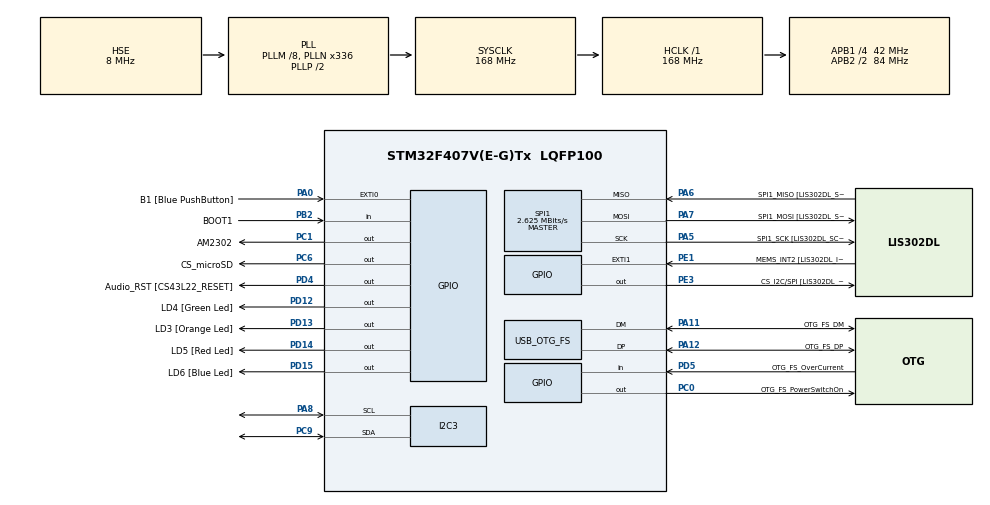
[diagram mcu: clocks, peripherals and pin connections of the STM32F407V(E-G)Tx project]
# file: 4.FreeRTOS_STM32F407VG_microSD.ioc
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FATFS._CODE_PAGE=850
FATFS._MAX_SS=4096
FATFS._USE_LFN=2
FREERTOS.Queues01=UARTQueue,10,QUEUE_t,0,Static,UARTQueueBuffer,UARTQueueControlBlock
FREERTOS.Tasks01=defaultTask,24,128,StartDefaultTask,Default,NULL,Static,defaultTaskBuffer,defaultTaskControlBlock;Blue_LED_Blink,8,1024,Start_Blue_LED_Blink,Default,NULL,Static,Blue_LED_BlinkBuffer,Blue_LED_BlinkControlBlock;Show_Resources,8,1024,Start_Show_Resources,Default,NULL,Static,Show_ResourcesBuffer,Show_ResourcesControlBlock;UART_Task,8,1024,Start_UART_Task,Default,NULL,Static,UART_TaskBuffer,UART_TaskControlBlock;bme280,8,1024,Start_bme280,Default,NULL,Static,bme280Buffer,bme280ControlBlock;AM2302,8,1024,Start_AM2302,Default,NULL,Static,AM2302Buffer,AM2302ControlBlock;SD_CARD,40,1024,Start_SD_CARD,Default,NULL,Static,SD_CARDBuffer,SD_CARDControlBlock
FREERTOS.configGENERATE_RUN_TIME_STATS=1
FREERTOS.configTOTAL_HEAP_SIZE=18000
FREERTOS.configUSE_NEWLIB_REENTRANT=1
FREERTOS.configUSE_STATS_FORMATTING_FUNCTIONS=1
Mcu.Family=STM32F4
Mcu.Name=STM32F407V(E-G)Tx
Mcu.Package=LQFP100
NVIC.OTG_FS_IRQn=true\:5\:0\:false\:false\:true\:true\:true\:true
NVIC.PriorityGroup=NVIC_PRIORITYGROUP_4
NVIC.TIM1_UP_TIM10_IRQn=true\:5\:0\:false\:false\:true\:false\:false\:true
NVIC.TIM2_IRQn=true\:5\:0\:false\:false\:true\:true\:true\:true
NVIC.TIM3_IRQn=true\:5\:0\:false\:false\:true\:true\:true\:true
NVIC.TIM8_TRG_COM_TIM14_IRQn=true\:15\:0\:false\:false\:true\:false\:false\:true
NVIC.TimeBase=TIM8_TRG_COM_TIM14_IRQn
NVIC.TimeBaseIP=TIM14
PA0-WKUP.GPIO_Label=B1 [Blue PushButton]
PA0-WKUP.GPIO_ModeDefaultEXTI=GPIO_MODE_EVT_RISING
PA0-WKUP.GPIO_PuPd=GPIO_NOPULL
PA0-WKUP.Signal=GPXTI0
PA10.GPIO_Label=OTG_FS_ID
PA10.GPIO_Mode=GPIO_MODE_AF_PP
PA10.GPIO_PuPd=GPIO_NOPULL
PA10.GPIO_Speed=GPIO_SPEED_FREQ_LOW
PA10.Signal=USB_OTG_FS_ID
PA11.GPIO_Label=OTG_FS_DM
PA11.GPIO_Mode=GPIO_MODE_AF_PP
PA11.GPIO_PuPd=GPIO_NOPULL
PA11.GPIO_Speed=GPIO_SPEED_FREQ_LOW
PA11.Mode=Device_Only
PA11.Signal=USB_OTG_FS_DM
PA12.GPIO_Label=OTG_FS_DP
PA12.GPIO_Mode=GPIO_MODE_AF_PP
PA12.GPIO_PuPd=GPIO_NOPULL
PA12.GPIO_Speed=GPIO_SPEED_FREQ_LOW
PA12.Mode=Device_Only
PA12.Signal=USB_OTG_FS_DP
PA13.GPIO_Label=SWDIO
PA13.Mode=Serial_Wire
PA13.Signal=SYS_JTMS-SWDIO
PA14.GPIO_Label=SWCLK
PA14.Mode=Serial_Wire
PA14.Signal=SYS_JTCK-SWCLK
PA4.GPIO_Label=I2S3_WS [CS43L22_LRCK]
PA4.GPIO_Mode=GPIO_MODE_AF_PP
PA4.GPIO_PuPd=GPIO_NOPULL
PA4.GPIO_Speed=GPIO_SPEED_FREQ_LOW
PA4.Signal=I2S3_WS
PA5.GPIO_Label=SPI1_SCK [LIS302DL_SCL/SPC]
PA5.GPIO_Mode=GPIO_MODE_AF_PP
PA5.GPIO_PuPd=GPIO_NOPULL
PA5.GPIO_Speed=GPIO_SPEED_FREQ_HIGH
PA5.Mode=Full_Duplex_Master
PA5.Signal=SPI1_SCK
PA6.GPIO_Label=SPI1_MISO [LIS302DL_SDO]
PA6.GPIO_Mode=GPIO_MODE_AF_PP
PA6.GPIO_PuPd=GPIO_NOPULL
PA6.GPIO_Speed=GPIO_SPEED_FREQ_HIGH
PA6.Mode=Full_Duplex_Master
PA6.Signal=SPI1_MISO
PA7.GPIO_Label=SPI1_MOSI [LIS302DL_SDA/SDI/SDO]
PA7.GPIO_Mode=GPIO_MODE_AF_PP
PA7.GPIO_PuPd=GPIO_NOPULL
PA7.GPIO_Speed=GPIO_SPEED_FREQ_HIGH
PA7.Mode=Full_Duplex_Master
PA7.Signal=SPI1_MOSI
PA8.Mode=I2C
PA8.Signal=I2C3_SCL
PA9.GPIO_Label=VBUS_FS
PA9.GPIO_Mode=GPIO_MODE_INPUT
PA9.GPIO_PuPd=GPIO_NOPULL
PA9.Signal=USB_OTG_FS_VBUS
PB10.GPIO_Label=CLK_IN [MP45DT02_CLK]
PB10.GPIO_Mode=GPIO_MODE_AF_PP
PB10.GPIO_PuPd=GPIO_NOPULL
PB10.GPIO_Speed=GPIO_SPEED_FREQ_LOW
PB10.Signal=I2S2_CK
PB2.GPIO_Label=BOOT1
PB2.GPIO_Mode=GPIO_MODE_INPUT
PB2.GPIO_PuPd=GPIO_NOPULL
PB2.Signal=GPIO_Input
PB3.GPIO_Label=SWO
PB3.Signal=SYS_JTDO-SWO
PB6.GPIO_Label=Audio_SCL [CS43L22_SCL]
PB6.GPIO_Mode=GPIO_MODE_AF_OD
PB6.GPIO_Pu=GPIO_PULLUP
PB6.GPIO_PuPd=GPIO_NOPULL
PB6.GPIO_Speed=GPIO_SPEED_FREQ_LOW
PB6.Signal=I2C1_SCL
PB9.GPIO_Label=Audio_SDA [CS43L22_SDA]
PB9.GPIO_Mode=GPIO_MODE_AF_OD
PB9.GPIO_Pu=GPIO_PULLUP
PB9.GPIO_PuPd=GPIO_NOPULL
PB9.GPIO_Speed=GPIO_SPEED_FREQ_LOW
PB9.Signal=I2C1_SDA
PC0.GPIO_Label=OTG_FS_PowerSwitchOn
PC0.GPIO_PuPd=GPIO_NOPULL
PC0.GPIO_Speed=GPIO_SPEED_FREQ_LOW
PC0.PinState=GPIO_PIN_SET
PC0.Signal=GPIO_Output
PC1.GPIO_Label=AM2302
PC1.Signal=GPIO_Output
PC10.GPIO_Label=I2S3_SCK [CS43L22_SCLK]
PC10.GPIO_Mode=GPIO_MODE_AF_PP
PC10.GPIO_PuPd=GPIO_NOPULL
PC10.GPIO_Speed=GPIO_SPEED_FREQ_LOW
PC10.Signal=I2S3_CK
PC12.GPIO_Label=I2S3_SD [CS43L22_SDIN]
PC12.GPIO_Mode=GPIO_MODE_AF_PP
PC12.GPIO_PuPd=GPIO_NOPULL
PC12.GPIO_Speed=GPIO_SPEED_FREQ_LOW
PC12.Signal=I2S3_SD
PC14-OSC32_IN.GPIO_Label=PC14-OSC32_IN
PC14-OSC32_IN.Mode=LSE-External-Oscillator
PC14-OSC32_IN.Signal=RCC_OSC32_IN
PC15-OSC32_OUT.GPIO_Label=PC15-OSC32_OUT
PC15-OSC32_OUT.Mode=LSE-External-Oscillator
PC15-OSC32_OUT.Signal=RCC_OSC32_OUT
PC3.GPIO_Label=PDM_OUT [MP45DT02_DOUT]
PC3.GPIO_Mode=GPIO_MODE_AF_PP
PC3.GPIO_PuPd=GPIO_NOPULL
PC3.GPIO_Speed=GPIO_SPEED_FREQ_LOW
PC3.Signal=I2S2_SD
PC6.GPIO_Label=CS_microSD
PC6.GPIO_Speed=GPIO_SPEED_FREQ_HIGH
PC6.Signal=GPIO_Output
PC7.GPIO_Label=I2S3_MCK [CS43L22_MCLK]
PC7.GPIO_Mode=GPIO_MODE_AF_PP
PC7.GPIO_PuPd=GPIO_NOPULL
PC7.GPIO_Speed=GPIO_SPEED_FREQ_LOW
PC7.Signal=I2S3_MCK
PC9.Mode=I2C
PC9.Signal=I2C3_SDA
PD12.GPIO_Label=LD4 [Green Led]
PD12.GPIO_PuPd=GPIO_NOPULL
PD12.GPIO_Speed=GPIO_SPEED_FREQ_LOW
PD12.Signal=GPIO_Output
PD13.GPIO_Label=LD3 [Orange Led]
PD13.GPIO_PuPd=GPIO_NOPULL
PD13.GPIO_Speed=GPIO_SPEED_FREQ_LOW
PD13.Signal=GPIO_Output
PD14.GPIO_Label=LD5 [Red Led]
PD14.GPIO_PuPd=GPIO_NOPULL
PD14.GPIO_Speed=GPIO_SPEED_FREQ_LOW
PD14.Signal=GPIO_Output
PD15.GPIO_Label=LD6 [Blue Led]
PD15.GPIO_PuPd=GPIO_NOPULL
PD15.GPIO_Speed=GPIO_SPEED_FREQ_LOW
PD15.Signal=GPIO_Output
PD4.GPIO_Label=Audio_RST [CS43L22_RESET]
PD4.GPIO_PuPd=GPIO_NOPULL
PD4.GPIO_Speed=GPIO_SPEED_FREQ_LOW
PD4.Signal=GPIO_Output
PD5.GPIO_Label=OTG_FS_OverCurrent
PD5.GPIO_Mode=GPIO_MODE_INPUT
PD5.GPIO_PuPd=GPIO_NOPULL
PD5.Signal=GPIO_Input
PE1.GPIO_Label=MEMS_INT2 [LIS302DL_INT2]
PE1.GPIO_ModeDefaultEXTI=GPIO_MODE_EVT_RISING
PE1.GPIO_PuPd=GPIO_NOPULL
PE1.Signal=GPXTI1
PE3.GPIO_Label=CS_I2C/SPI [LIS302DL_CS_I2C/SPI]
PE3.GPIO_PuPd=GPIO_NOPULL
PE3.GPIO_Speed=GPIO_SPEED_FREQ_LOW
PE3.Signal=GPIO_Output
PH0-OSC_IN.GPIO_Label=PH0-OSC_IN
PH0-OSC_IN.Mode=HSE-External-Oscillator
PH0-OSC_IN.Signal=RCC_OSC_IN
PH1-OSC_OUT.GPIO_Label=PH1-OSC_OUT
PH1-OSC_OUT.Mode=HSE-External-Oscillator
PH1-OSC_OUT.Signal=RCC_OSC_OUT
ProjectManager.HeapSize=0x200
ProjectManager.StackSize=0x400
ProjectManager.TargetToolchain=STM32CubeIDE
RCC.48MHZClocksFreq_Value=48000000
RCC.AHBFreq_Value=168000000
RCC.APB1CLKDivider=RCC_HCLK_DIV4
RCC.APB1Freq_Value=42000000
RCC.APB1TimFreq_Value=84000000
RCC.APB2CLKDivider=RCC_HCLK_DIV2
RCC.APB2Freq_Value=84000000
RCC.APB2TimFreq_Value=168000000
RCC.CortexFreq_Value=168000000
RCC.HCLKFreq_Value=168000000
RCC.HSE_VALUE=8000000
RCC.HSI_VALUE=16000000
RCC.PLLM=8
RCC.PLLN=336
RCC.PLLQ=7
RCC.RCC_RTC_Clock_Source=RCC_RTCCLKSOURCE_LSE
RCC.SYSCLKFreq_VALUE=168000000
RCC.SYSCLKSource=RCC_SYSCLKSOURCE_PLLCLK
RCC.VCOOutputFreq_Value=336000000
RTC.Alarm=RTC_ALARM_A
RTC.AlarmDateWeekDaySel=RTC_ALARMDATEWEEKDAYSEL_WEEKDAY
RTC.Date=28
RTC.Hours=23
RTC.Minutes=59
RTC.Month=RTC_MONTH_DECEMBER
RTC.Seconds=45
RTC.Seconds_A=10
RTC.StoreOperation=RTC_STOREOPERATION_RESET
RTC.WeekDay=RTC_WEEKDAY_TUESDAY
SPI1.BaudRatePrescaler=SPI_BAUDRATEPRESCALER_32
SPI1.CalculateBaudRate=2.625 MBits/s
SPI1.Direction=SPI_DIRECTION_2LINES
SPI1.Mode=SPI_MODE_MASTER
SPI1.VirtualType=VM_MASTER
TIM1.Period=10000
TIM1.Prescaler=16800-1
TIM1.TIM_MasterOutputTrigger=TIM_TRGO_UPDATE
TIM10.AutoReloadPreload=TIM_AUTORELOAD_PRELOAD_ENABLE
TIM10.Period=10-1
TIM10.Prescaler=168-1
TIM2.AutoReloadPreload=TIM_AUTORELOAD_PRELOAD_DISABLE
TIM2.Period=10
TIM2.Prescaler=10
TIM3.AutoReloadPreload=TIM_AUTORELOAD_PRELOAD_ENABLE
TIM3.Period=10
TIM3.Prescaler=839
USB_DEVICE.CLASS_NAME_FS=CDC
USB_DEVICE.VirtualMode-CDC_FS=Cdc
USB_DEVICE.VirtualModeFS=Cdc_FS
USB_OTG_FS.VirtualMode=Device_Only
VP_FATFS_VS_Generic.Mode=User_defined
VP_FREERTOS_VS_CMSIS_V2.Mode=CMSIS_V2
VP_RTC_VS_RTC_Activate.Mode=RTC_Enabled
VP_RTC_VS_RTC_Alarm_A_Intern.Mode=Alarm A
VP_RTC_VS_RTC_Calendar.Mode=RTC_Calendar
VP_SYS_VS_tim14.Mode=TIM14
VP_TIM10_VS_ClockSourceINT.Mode=Enable_Timer
VP_TIM1_VS_ClockSourceINT.Mode=Internal
VP_TIM2_VS_ClockSourceINT.Mode=Internal
VP_TIM3_VS_ClockSourceINT.Mode=Internal
VP_USB_DEVICE_VS_USB_DEVICE_CDC_FS.Mode=CDC_FS
board=STM32F407G-DISC1

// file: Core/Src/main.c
/* USER CODE BEGIN Header */
/**
  ******************************************************************************
  * @file           : main.c
  * @brief          : Main program body
  ******************************************************************************
  * @attention
  *
  * <h2><center>&copy; Copyright (c) 2021 STMicroelectronics.
  * All rights reserved.</center></h2>
  *
  * This software component is licensed by ST under Ultimate Liberty license
  * SLA0044, the "License"; You may not use this file except in compliance with
  * the License. You may obtain a copy of the License at:
  *                             www.st.com/SLA0044
  *
  ******************************************************************************
  */
/* USER CODE END Header */
#include "main.h"
#include "cmsis_os.h"
#include "fatfs.h"
#include "usb_device.h"
#include "usb_device.h"

/* USER CODE BEGIN Includes */
#include "string.h"
#include "usbd_cdc_if.h"
#include "task.h"
#include <stdio.h>
#include <stdbool.h>

// Sensors
#include "BME280/bme280_defs.h"
#include "BME280/bme280.h"

// SD
#include "File_Handling_RTOS.h"
/* USER CODE END Includes */

typedef StaticTask_t osStaticThreadDef_t;
typedef StaticQueue_t osStaticMessageQDef_t;
/* USER CODE BEGIN PTD */
typedef struct 							//Queue
{
	char Buf[1024];
}QUEUE_t;

volatile unsigned long ulHighFreqebcyTimerTicks;		// This variable using for calculate how many time all tasks was running.
char str_management_memory_str[1000] = {0};
int freemem = 0;

uint32_t tim_val = 0;

// For SD works (use in fatfs_sd.c file)
volatile uint8_t FatFsCnt = 0;
volatile uint8_t Timer1, Timer2;

/* USER CODE END PTD */

I2C_HandleTypeDef hi2c3;

RTC_HandleTypeDef hrtc;

SPI_HandleTypeDef hspi1;

TIM_HandleTypeDef htim1;
TIM_HandleTypeDef htim2;
TIM_HandleTypeDef htim3;
TIM_HandleTypeDef htim10;

/* Definitions for defaultTask */
osThreadId_t defaultTaskHandle;
uint32_t defaultTaskBuffer[ 128 ];
osStaticThreadDef_t defaultTaskControlBlock;
const osThreadAttr_t defaultTask_attributes = {
  .name = "defaultTask",
  .cb_mem = &defaultTaskControlBlock,
  .cb_size = sizeof(defaultTaskControlBlock),
  .stack_mem = &defaultTaskBuffer[0],
  .stack_size = sizeof(defaultTaskBuffer),
  .priority = (osPriority_t) osPriorityNormal,
};
/* Definitions for Blue_LED_Blink */
osThreadId_t Blue_LED_BlinkHandle;
uint32_t Blue_LED_BlinkBuffer[ 1024 ];
osStaticThreadDef_t Blue_LED_BlinkControlBlock;
const osThreadAttr_t Blue_LED_Blink_attributes = {
  .name = "Blue_LED_Blink",
  .cb_mem = &Blue_LED_BlinkControlBlock,
  .cb_size = sizeof(Blue_LED_BlinkControlBlock),
  .stack_mem = &Blue_LED_BlinkBuffer[0],
  .stack_size = sizeof(Blue_LED_BlinkBuffer),
  .priority = (osPriority_t) osPriorityLow,
};
/* Definitions for Show_Resources */
osThreadId_t Show_ResourcesHandle;
uint32_t Show_ResourcesBuffer[ 1024 ];
osStaticThreadDef_t Show_ResourcesControlBlock;
const osThreadAttr_t Show_Resources_attributes = {
  .name = "Show_Resources",
  .cb_mem = &Show_ResourcesControlBlock,
  .cb_size = sizeof(Show_ResourcesControlBlock),
  .stack_mem = &Show_ResourcesBuffer[0],
  .stack_size = sizeof(Show_ResourcesBuffer),
  .priority = (osPriority_t) osPriorityLow,
};
/* Definitions for UART_Task */
osThreadId_t UART_TaskHandle;
uint32_t UART_TaskBuffer[ 1024 ];
osStaticThreadDef_t UART_TaskControlBlock;
const osThreadAttr_t UART_Task_attributes = {
  .name = "UART_Task",
  .cb_mem = &UART_TaskControlBlock,
  .cb_size = sizeof(UART_TaskControlBlock),
  .stack_mem = &UART_TaskBuffer[0],
  .stack_size = sizeof(UART_TaskBuffer),
  .priority = (osPriority_t) osPriorityLow,
};
/* Definitions for bme280 */
osThreadId_t bme280Handle;
uint32_t bme280Buffer[ 1024 ];
osStaticThreadDef_t bme280ControlBlock;
const osThreadAttr_t bme280_attributes = {
  .name = "bme280",
  .cb_mem = &bme280ControlBlock,
  .cb_size = sizeof(bme280ControlBlock),
  .stack_mem = &bme280Buffer[0],
  .stack_size = sizeof(bme280Buffer),
  .priority = (osPriority_t) osPriorityLow,
};
/* Definitions for AM2302 */
osThreadId_t AM2302Handle;
uint32_t AM2302Buffer[ 1024 ];
osStaticThreadDef_t AM2302ControlBlock;
const osThreadAttr_t AM2302_attributes = {
  .name = "AM2302",
  .cb_mem = &AM2302ControlBlock,
  .cb_size = sizeof(AM2302ControlBlock),
  .stack_mem = &AM2302Buffer[0],
  .stack_size = sizeof(AM2302Buffer),
  .priority = (osPriority_t) osPriorityLow,
};
/* Definitions for SD_CARD */
osThreadId_t SD_CARDHandle;
uint32_t SD_CARDBuffer[ 1024 ];
osStaticThreadDef_t SD_CARDControlBlock;
const osThreadAttr_t SD_CARD_attributes = {
  .name = "SD_CARD",
  .cb_mem = &SD_CARDControlBlock,
  .cb_size = sizeof(SD_CARDControlBlock),
  .stack_mem = &SD_CARDBuffer[0],
  .stack_size = sizeof(SD_CARDBuffer),
  .priority = (osPriority_t) osPriorityHigh,
};
/* Definitions for UARTQueue */
osMessageQueueId_t UARTQueueHandle;
uint8_t UARTQueueBuffer[ 10 * sizeof( QUEUE_t ) ];
osStaticMessageQDef_t UARTQueueControlBlock;
const osMessageQueueAttr_t UARTQueue_attributes = {
  .name = "UARTQueue",
  .cb_mem = &UARTQueueControlBlock,
  .cb_size = sizeof(UARTQueueControlBlock),
  .mq_mem = &UARTQueueBuffer,
  .mq_size = sizeof(UARTQueueBuffer)
};
/* USER CODE BEGIN PV */

// BME280 part /////////////////////////////////////////////////////////////////////////////////////
struct bme280_dev dev;
struct bme280_data comp_data;
int8_t rslt;

int8_t init_bme280(void);
void bme280_measure(void);

//----------------------------------------------------------------------------------------
int8_t user_i2c_read(uint8_t id, uint8_t reg_addr, uint8_t *data, uint16_t len)
{
  if(HAL_I2C_Master_Transmit(&hi2c3, (id << 1), &reg_addr, 1, 10) != HAL_OK) return -1;
  if(HAL_I2C_Master_Receive(&hi2c3, (id << 1) | 0x01, data, len, 10) != HAL_OK) return -1;

  return 0;
}
//----------------------------------------------------------------------------------------
void user_delay_ms(uint32_t period)
{
  HAL_Delay(period);
}
//----------------------------------------------------------------------------------------
int8_t user_i2c_write(uint8_t id, uint8_t reg_addr, uint8_t *data, uint16_t len)
{
  int8_t *buf;
  buf = malloc(len +1);
  buf[0] = reg_addr;
  memcpy(buf +1, data, len);

  if(HAL_I2C_Master_Transmit(&hi2c3, (id << 1), (uint8_t*)buf, len + 1, HAL_MAX_DELAY) != HAL_OK) return -1;

  free(buf);
  return 0;
}
// End BME280 part/////////////////////////////////////////////////////////////////////////////////////

//__STATIC_INLINE void DelayMicro(__IO uint32_t micros)
//{
//	uint32_t test_micros = SystemCoreClock;
//	micros *= (SystemCoreClock / 100000) /168;			// 84
//	while (micros--);
//	//HAL_GPIO_TogglePin(GPIOD, LD3_Pin);
//
//}

bool delay_us(uint16_t us)
{
	__HAL_TIM_SET_COUNTER(&htim10, 0);
	tim_val = us/10;
	HAL_TIM_Base_Start_IT(&htim10);
	while(tim_val != 0)
	{

	}
	HAL_TIM_Base_Stop_IT(&htim10);
	tim_val = 0;
	int s = 99;
	return true;

//	__HAL_TIM_SET_COUNTER(&htim10, 0);
//	HAL_TIM_Base_Start_IT(&htim10);
//	uint32_t kk = __HAL_TIM_GET_COUNTER(&htim10);
//	while (__HAL_TIM_GET_COUNTER(&htim10) < us)  // wait for the counter to reach the us input in the parameter
//	{
//
//	}
//	//HAL_TIM_Base_Stop_IT(&htim10);
//	return true;
}

/* USER CODE END PV */

void SystemClock_Config(void);
static void MX_GPIO_Init(void);
static void MX_TIM3_Init(void);
static void MX_I2C3_Init(void);
static void MX_TIM2_Init(void);
static void MX_TIM10_Init(void);
static void MX_SPI1_Init(void);
static void MX_TIM1_Init(void);
static void MX_RTC_Init(void);
void StartDefaultTask(void *argument);
void Start_Blue_LED_Blink(void *argument);
void Start_Show_Resources(void *argument);
void Start_UART_Task(void *argument);
void Start_bme280(void *argument);
void Start_AM2302(void *argument);
void Start_SD_CARD(void *argument);

int main(void)
{

  /* MCU Configuration--------------------------------------------------------*/

  /* Reset of all peripherals, Initializes the Flash interface and the Systick. */
  HAL_Init();

  /* Configure the system clock */
  SystemClock_Config();

  /* Initialize all configured peripherals */
  MX_GPIO_Init();
  MX_TIM3_Init();
  MX_I2C3_Init();
  MX_TIM2_Init();
  MX_TIM10_Init();
  MX_SPI1_Init();
  MX_FATFS_Init();
  MX_TIM1_Init();
  MX_RTC_Init();
  /* USER CODE BEGIN 2 */
  HAL_TIM_Base_Start_IT(&htim3);		//  This TIM3 using for calculate how many time all tasks was running.

  //HAL_TIM_Base_Start_IT(&htim2);
  //HAL_TIM_Base_Start_IT(&htim10);			// Using for generate us delays
  HAL_TIM_Base_Start_IT(&htim1);			// Blink Green LED

//  // Set up RTC /////////////////////////////////////////////////////
//  // 1. Set time
//  RTC_TimeTypeDef sTime = {0};
//  sTime.Hours = 0x23;
//  sTime.Minutes = 0x59;
//  sTime.Seconds = 0x45;
//  HAL_RTC_SetTime(&hrtc, &sTime, RTC_FORMAT_BIN);
//  // Set date
//
//  RTC_DateTypeDef sDate = {0};
//  sDate.Date = 28;
//  sDate.Month = RTC_MONTH_DECEMBER;
//  sDate.WeekDay = RTC_WEEKDAY_TUESDAY;
//  sDate.Year = 21;
//  HAL_RTC_SetDate(&hrtc, &sDate, RTC_FORMAT_BIN);
//  /////////////////////////////////////////////////////////////////////

  /* USER CODE END 2 */

  /* Init scheduler */
  osKernelInitialize();

  /* Create the queue(s) */
  /* creation of UARTQueue */
  UARTQueueHandle = osMessageQueueNew (10, sizeof(QUEUE_t), &UARTQueue_attributes);

  /* Create the thread(s) */
  /* creation of defaultTask */
  defaultTaskHandle = osThreadNew(StartDefaultTask, NULL, &defaultTask_attributes);

  /* creation of Blue_LED_Blink */
  Blue_LED_BlinkHandle = osThreadNew(Start_Blue_LED_Blink, NULL, &Blue_LED_Blink_attributes);

  /* creation of Show_Resources */
  Show_ResourcesHandle = osThreadNew(Start_Show_Resources, NULL, &Show_Resources_attributes);

  /* creation of UART_Task */
  UART_TaskHandle = osThreadNew(Start_UART_Task, NULL, &UART_Task_attributes);

  /* creation of bme280 */
  bme280Handle = osThreadNew(Start_bme280, NULL, &bme280_attributes);

  /* creation of AM2302 */
  AM2302Handle = osThreadNew(Start_AM2302, NULL, &AM2302_attributes);

  /* creation of SD_CARD */
  SD_CARDHandle = osThreadNew(Start_SD_CARD, NULL, &SD_CARD_attributes);

  /* Start scheduler */
  osKernelStart();

  /* We should never get here as control is now taken by the scheduler */
  /* Infinite loop */
  while (1)
  {

  }
}

void SystemClock_Config(void)
{
  RCC_OscInitTypeDef RCC_OscInitStruct = {0};
  RCC_ClkInitTypeDef RCC_ClkInitStruct = {0};

  /** Configure the main internal regulator output voltage
  */
  __HAL_RCC_PWR_CLK_ENABLE();
  __HAL_PWR_VOLTAGESCALING_CONFIG(PWR_REGULATOR_VOLTAGE_SCALE1);
  /** Initializes the RCC Oscillators according to the specified parameters
  * in the RCC_OscInitTypeDef structure.
  */
  RCC_OscInitStruct.OscillatorType = RCC_OSCILLATORTYPE_HSE|RCC_OSCILLATORTYPE_LSE;
  RCC_OscInitStruct.HSEState = RCC_HSE_ON;
  RCC_OscInitStruct.LSEState = RCC_LSE_ON;
  RCC_OscInitStruct.PLL.PLLState = RCC_PLL_ON;
  RCC_OscInitStruct.PLL.PLLSource = RCC_PLLSOURCE_HSE;
  RCC_OscInitStruct.PLL.PLLM = 8;
  RCC_OscInitStruct.PLL.PLLN = 336;
  RCC_OscInitStruct.PLL.PLLP = RCC_PLLP_DIV2;
  RCC_OscInitStruct.PLL.PLLQ = 7;
  if (HAL_RCC_OscConfig(&RCC_OscInitStruct) != HAL_OK)
  {
    Error_Handler();
  }
  /** Initializes the CPU, AHB and APB buses clocks
  */
  RCC_ClkInitStruct.ClockType = RCC_CLOCKTYPE_HCLK|RCC_CLOCKTYPE_SYSCLK
                              |RCC_CLOCKTYPE_PCLK1|RCC_CLOCKTYPE_PCLK2;
  RCC_ClkInitStruct.SYSCLKSource = RCC_SYSCLKSOURCE_PLLCLK;
  RCC_ClkInitStruct.AHBCLKDivider = RCC_SYSCLK_DIV1;
  RCC_ClkInitStruct.APB1CLKDivider = RCC_HCLK_DIV4;
  RCC_ClkInitStruct.APB2CLKDivider = RCC_HCLK_DIV2;

  if (HAL_RCC_ClockConfig(&RCC_ClkInitStruct, FLASH_LATENCY_5) != HAL_OK)
  {
    Error_Handler();
  }
}

static void MX_I2C3_Init(void)
{

  hi2c3.Instance = I2C3;
  hi2c3.Init.ClockSpeed = 100000;
  hi2c3.Init.DutyCycle = I2C_DUTYCYCLE_2;
  hi2c3.Init.OwnAddress1 = 0;
  hi2c3.Init.AddressingMode = I2C_ADDRESSINGMODE_7BIT;
  hi2c3.Init.DualAddressMode = I2C_DUALADDRESS_DISABLE;
  hi2c3.Init.OwnAddress2 = 0;
  hi2c3.Init.GeneralCallMode = I2C_GENERALCALL_DISABLE;
  hi2c3.Init.NoStretchMode = I2C_NOSTRETCH_DISABLE;
  if (HAL_I2C_Init(&hi2c3) != HAL_OK)
  {
    Error_Handler();
  }

}

static void MX_RTC_Init(void)
{

  RTC_TimeTypeDef sTime = {0};
  RTC_DateTypeDef sDate = {0};
  RTC_AlarmTypeDef sAlarm = {0};

  /** Initialize RTC Only
  */
  hrtc.Instance = RTC;
  hrtc.Init.HourFormat = RTC_HOURFORMAT_24;
  hrtc.Init.AsynchPrediv = 127;
  hrtc.Init.SynchPrediv = 255;
  hrtc.Init.OutPut = RTC_OUTPUT_DISABLE;
  hrtc.Init.OutPutPolarity = RTC_OUTPUT_POLARITY_HIGH;
  hrtc.Init.OutPutType = RTC_OUTPUT_TYPE_OPENDRAIN;
  if (HAL_RTC_Init(&hrtc) != HAL_OK)
  {
    Error_Handler();
  }

  /** Initialize RTC and set the Time and Date
  */
  sTime.Hours = 0x23;
  sTime.Minutes = 0x59;
  sTime.Seconds = 0x45;
  sTime.DayLightSaving = RTC_DAYLIGHTSAVING_NONE;
  sTime.StoreOperation = RTC_STOREOPERATION_RESET;
//  if (HAL_RTC_SetTime(&hrtc, &sTime, RTC_FORMAT_BCD) != HAL_OK)
//  {
//    Error_Handler();
//  }
  sDate.WeekDay = RTC_WEEKDAY_TUESDAY;
  sDate.Month = RTC_MONTH_DECEMBER;
  sDate.Date = 0x28;
  sDate.Year = 0x0;

//  if (HAL_RTC_SetDate(&hrtc, &sDate, RTC_FORMAT_BCD) != HAL_OK)
//  {
//    Error_Handler();
//  }
  /** Enable the Alarm A
  */
  sAlarm.AlarmTime.Hours = 0x0;
  sAlarm.AlarmTime.Minutes = 0x0;
  sAlarm.AlarmTime.Seconds = 0x10;
  sAlarm.AlarmTime.SubSeconds = 0x0;
  sAlarm.AlarmTime.DayLightSaving = RTC_DAYLIGHTSAVING_NONE;
  sAlarm.AlarmTime.StoreOperation = RTC_STOREOPERATION_RESET;
  sAlarm.AlarmMask = RTC_ALARMMASK_NONE;
  sAlarm.AlarmSubSecondMask = RTC_ALARMSUBSECONDMASK_ALL;
  sAlarm.AlarmDateWeekDaySel = RTC_ALARMDATEWEEKDAYSEL_WEEKDAY;
  sAlarm.AlarmDateWeekDay = RTC_WEEKDAY_MONDAY;
  sAlarm.Alarm = RTC_ALARM_A;
  if (HAL_RTC_SetAlarm(&hrtc, &sAlarm, RTC_FORMAT_BCD) != HAL_OK)
  {
    Error_Handler();
  }

}

static void MX_SPI1_Init(void)
{

  /* SPI1 parameter configuration*/
  hspi1.Instance = SPI1;
  hspi1.Init.Mode = SPI_MODE_MASTER;
  hspi1.Init.Direction = SPI_DIRECTION_2LINES;
  hspi1.Init.DataSize = SPI_DATASIZE_8BIT;
  hspi1.Init.CLKPolarity = SPI_POLARITY_LOW;
  hspi1.Init.CLKPhase = SPI_PHASE_1EDGE;
  hspi1.Init.NSS = SPI_NSS_SOFT;
  hspi1.Init.BaudRatePrescaler = SPI_BAUDRATEPRESCALER_32;
  hspi1.Init.FirstBit = SPI_FIRSTBIT_MSB;
  hspi1.Init.TIMode = SPI_TIMODE_DISABLE;
  hspi1.Init.CRCCalculation = SPI_CRCCALCULATION_DISABLE;
  hspi1.Init.CRCPolynomial = 10;
  if (HAL_SPI_Init(&hspi1) != HAL_OK)
  {
    Error_Handler();
  }

}

static void MX_TIM1_Init(void)
{

  TIM_ClockConfigTypeDef sClockSourceConfig = {0};
  TIM_MasterConfigTypeDef sMasterConfig = {0};

  htim1.Instance = TIM1;
  htim1.Init.Prescaler = 16800-1;
  htim1.Init.CounterMode = TIM_COUNTERMODE_UP;
  htim1.Init.Period = 10000;
  htim1.Init.ClockDivision = TIM_CLOCKDIVISION_DIV1;
  htim1.Init.RepetitionCounter = 0;
  htim1.Init.AutoReloadPreload = TIM_AUTORELOAD_PRELOAD_DISABLE;
  if (HAL_TIM_Base_Init(&htim1) != HAL_OK)
  {
    Error_Handler();
  }
  sClockSourceConfig.ClockSource = TIM_CLOCKSOURCE_INTERNAL;
  if (HAL_TIM_ConfigClockSource(&htim1, &sClockSourceConfig) != HAL_OK)
  {
    Error_Handler();
  }
  sMasterConfig.MasterOutputTrigger = TIM_TRGO_UPDATE;
  sMasterConfig.MasterSlaveMode = TIM_MASTERSLAVEMODE_DISABLE;
  if (HAL_TIMEx_MasterConfigSynchronization(&htim1, &sMasterConfig) != HAL_OK)
  {
    Error_Handler();
  }

}

static void MX_TIM2_Init(void)
{

  TIM_ClockConfigTypeDef sClockSourceConfig = {0};
  TIM_MasterConfigTypeDef sMasterConfig = {0};

  htim2.Instance = TIM2;
  htim2.Init.Prescaler = 10;
  htim2.Init.CounterMode = TIM_COUNTERMODE_UP;
  htim2.Init.Period = 10;
  htim2.Init.ClockDivision = TIM_CLOCKDIVISION_DIV1;
  htim2.Init.AutoReloadPreload = TIM_AUTORELOAD_PRELOAD_DISABLE;
  if (HAL_TIM_Base_Init(&htim2) != HAL_OK)
  {
    Error_Handler();
  }
  sClockSourceConfig.ClockSource = TIM_CLOCKSOURCE_INTERNAL;
  if (HAL_TIM_ConfigClockSource(&htim2, &sClockSourceConfig) != HAL_OK)
  {
    Error_Handler();
  }
  sMasterConfig.MasterOutputTrigger = TIM_TRGO_RESET;
  sMasterConfig.MasterSlaveMode = TIM_MASTERSLAVEMODE_DISABLE;
  if (HAL_TIMEx_MasterConfigSynchronization(&htim2, &sMasterConfig) != HAL_OK)
  {
    Error_Handler();
  }

}

static void MX_TIM3_Init(void)
{

  TIM_ClockConfigTypeDef sClockSourceConfig = {0};
  TIM_MasterConfigTypeDef sMasterConfig = {0};

  htim3.Instance = TIM3;
  htim3.Init.Prescaler = 839;
  htim3.Init.CounterMode = TIM_COUNTERMODE_UP;
  htim3.Init.Period = 10;
  htim3.Init.ClockDivision = TIM_CLOCKDIVISION_DIV1;
  htim3.Init.AutoReloadPreload = TIM_AUTORELOAD_PRELOAD_ENABLE;
  if (HAL_TIM_Base_Init(&htim3) != HAL_OK)
  {
    Error_Handler();
  }
  sClockSourceConfig.ClockSource = TIM_CLOCKSOURCE_INTERNAL;
  if (HAL_TIM_ConfigClockSource(&htim3, &sClockSourceConfig) != HAL_OK)
  {
    Error_Handler();
  }
  sMasterConfig.MasterOutputTrigger = TIM_TRGO_RESET;
  sMasterConfig.MasterSlaveMode = TIM_MASTERSLAVEMODE_DISABLE;
  if (HAL_TIMEx_MasterConfigSynchronization(&htim3, &sMasterConfig) != HAL_OK)
  {
    Error_Handler();
  }

}

static void MX_TIM10_Init(void)
{

  htim10.Instance = TIM10;
  htim10.Init.Prescaler = 168-1;
  htim10.Init.CounterMode = TIM_COUNTERMODE_UP;
  htim10.Init.Period = 10-1;
  htim10.Init.ClockDivision = TIM_CLOCKDIVISION_DIV1;
  htim10.Init.AutoReloadPreload = TIM_AUTORELOAD_PRELOAD_ENABLE;
  if (HAL_TIM_Base_Init(&htim10) != HAL_OK)
  {
    Error_Handler();
  }

}

static void MX_GPIO_Init(void)
{
  GPIO_InitTypeDef GPIO_InitStruct = {0};

  /* GPIO Ports Clock Enable */
  __HAL_RCC_GPIOE_CLK_ENABLE();
  __HAL_RCC_GPIOC_CLK_ENABLE();
  __HAL_RCC_GPIOH_CLK_ENABLE();
  __HAL_RCC_GPIOA_CLK_ENABLE();
  __HAL_RCC_GPIOB_CLK_ENABLE();
  __HAL_RCC_GPIOD_CLK_ENABLE();

  /*Configure GPIO pin Output Level */
  HAL_GPIO_WritePin(CS_I2C_SPI_GPIO_Port, CS_I2C_SPI_Pin, GPIO_PIN_RESET);

  /*Configure GPIO pin Output Level */
  HAL_GPIO_WritePin(OTG_FS_PowerSwitchOn_GPIO_Port, OTG_FS_PowerSwitchOn_Pin, GPIO_PIN_SET);

  /*Configure GPIO pin Output Level */
  HAL_GPIO_WritePin(GPIOC, AM2302_Pin|CS_microSD_Pin, GPIO_PIN_RESET);

  /*Configure GPIO pin Output Level */
  HAL_GPIO_WritePin(GPIOD, LD4_Pin|LD3_Pin|LD5_Pin|LD6_Pin
                          |Audio_RST_Pin, GPIO_PIN_RESET);

  /*Configure GPIO pin : CS_I2C_SPI_Pin */
  GPIO_InitStruct.Pin = CS_I2C_SPI_Pin;
  GPIO_InitStruct.Mode = GPIO_MODE_OUTPUT_PP;
  GPIO_InitStruct.Pull = GPIO_NOPULL;
  GPIO_InitStruct.Speed = GPIO_SPEED_FREQ_LOW;
  HAL_GPIO_Init(CS_I2C_SPI_GPIO_Port, &GPIO_InitStruct);

  /*Configure GPIO pins : OTG_FS_PowerSwitchOn_Pin AM2302_Pin */
  GPIO_InitStruct.Pin = OTG_FS_PowerSwitchOn_Pin|AM2302_Pin;
  GPIO_InitStruct.Mode = GPIO_MODE_OUTPUT_PP;
  GPIO_InitStruct.Pull = GPIO_NOPULL;
  GPIO_InitStruct.Speed = GPIO_SPEED_FREQ_LOW;
  HAL_GPIO_Init(GPIOC, &GPIO_InitStruct);

  /*Configure GPIO pin : PDM_OUT_Pin */
  GPIO_InitStruct.Pin = PDM_OUT_Pin;
  GPIO_InitStruct.Mode = GPIO_MODE_AF_PP;
  GPIO_InitStruct.Pull = GPIO_NOPULL;
  GPIO_InitStruct.Speed = GPIO_SPEED_FREQ_LOW;
  GPIO_InitStruct.Alternate = GPIO_AF5_SPI2;
  HAL_GPIO_Init(PDM_OUT_GPIO_Port, &GPIO_InitStruct);

  /*Configure GPIO pin : B1_Pin */
  GPIO_InitStruct.Pin = B1_Pin;
  GPIO_InitStruct.Mode = GPIO_MODE_EVT_RISING;
  GPIO_InitStruct.Pull = GPIO_NOPULL;
  HAL_GPIO_Init(B1_GPIO_Port, &GPIO_InitStruct);

  /*Configure GPIO pin : I2S3_WS_Pin */
  GPIO_InitStruct.Pin = I2S3_WS_Pin;
  GPIO_InitStruct.Mode = GPIO_MODE_AF_PP;
  GPIO_InitStruct.Pull = GPIO_NOPULL;
  GPIO_InitStruct.Speed = GPIO_SPEED_FREQ_LOW;
  GPIO_InitStruct.Alternate = GPIO_AF6_SPI3;
  HAL_GPIO_Init(I2S3_WS_GPIO_Port, &GPIO_InitStruct);

  /*Configure GPIO pin : BOOT1_Pin */
  GPIO_InitStruct.Pin = BOOT1_Pin;
  GPIO_InitStruct.Mode = GPIO_MODE_INPUT;
  GPIO_InitStruct.Pull = GPIO_NOPULL;
  HAL_GPIO_Init(BOOT1_GPIO_Port, &GPIO_InitStruct);

  /*Configure GPIO pin : CLK_IN_Pin */
  GPIO_InitStruct.Pin = CLK_IN_Pin;
  GPIO_InitStruct.Mode = GPIO_MODE_AF_PP;
  GPIO_InitStruct.Pull = GPIO_NOPULL;
  GPIO_InitStruct.Speed = GPIO_SPEED_FREQ_LOW;
  GPIO_InitStruct.Alternate = GPIO_AF5_SPI2;
  HAL_GPIO_Init(CLK_IN_GPIO_Port, &GPIO_InitStruct);

  /*Configure GPIO pins : LD4_Pin LD3_Pin LD5_Pin LD6_Pin
                           Audio_RST_Pin */
  GPIO_InitStruct.Pin = LD4_Pin|LD3_Pin|LD5_Pin|LD6_Pin
                          |Audio_RST_Pin;
  GPIO_InitStruct.Mode = GPIO_MODE_OUTPUT_PP;
  GPIO_InitStruct.Pull = GPIO_NOPULL;
  GPIO_InitStruct.Speed = GPIO_SPEED_FREQ_LOW;
  HAL_GPIO_Init(GPIOD, &GPIO_InitStruct);

  /*Configure GPIO pin : CS_microSD_Pin */
  GPIO_InitStruct.Pin = CS_microSD_Pin;
  GPIO_InitStruct.Mode = GPIO_MODE_OUTPUT_PP;
  GPIO_InitStruct.Pull = GPIO_NOPULL;
  GPIO_InitStruct.Speed = GPIO_SPEED_FREQ_HIGH;
  HAL_GPIO_Init(CS_microSD_GPIO_Port, &GPIO_InitStruct);

  /*Configure GPIO pins : I2S3_MCK_Pin I2S3_SCK_Pin I2S3_SD_Pin */
  GPIO_InitStruct.Pin = I2S3_MCK_Pin|I2S3_SCK_Pin|I2S3_SD_Pin;
  GPIO_InitStruct.Mode = GPIO_MODE_AF_PP;
  GPIO_InitStruct.Pull = GPIO_NOPULL;
  GPIO_InitStruct.Speed = GPIO_SPEED_FREQ_LOW;
  GPIO_InitStruct.Alternate = GPIO_AF6_SPI3;
  HAL_GPIO_Init(GPIOC, &GPIO_InitStruct);

  /*Configure GPIO pin : OTG_FS_OverCurrent_Pin */
  GPIO_InitStruct.Pin = OTG_FS_OverCurrent_Pin;
  GPIO_InitStruct.Mode = GPIO_MODE_INPUT;
  GPIO_InitStruct.Pull = GPIO_NOPULL;
  HAL_GPIO_Init(OTG_FS_OverCurrent_GPIO_Port, &GPIO_InitStruct);

  /*Configure GPIO pins : Audio_SCL_Pin Audio_SDA_Pin */
  GPIO_InitStruct.Pin = Audio_SCL_Pin|Audio_SDA_Pin;
  GPIO_InitStruct.Mode = GPIO_MODE_AF_OD;
  GPIO_InitStruct.Pull = GPIO_PULLUP;
  GPIO_InitStruct.Speed = GPIO_SPEED_FREQ_LOW;
  GPIO_InitStruct.Alternate = GPIO_AF4_I2C1;
  HAL_GPIO_Init(GPIOB, &GPIO_InitStruct);

  /*Configure GPIO pin : MEMS_INT2_Pin */
  GPIO_InitStruct.Pin = MEMS_INT2_Pin;
  GPIO_InitStruct.Mode = GPIO_MODE_EVT_RISING;
  GPIO_InitStruct.Pull = GPIO_NOPULL;
  HAL_GPIO_Init(MEMS_INT2_GPIO_Port, &GPIO_InitStruct);

}

void StartDefaultTask(void *argument)
{
  /* init code for USB_DEVICE */
  MX_USB_DEVICE_Init();
  for(;;)
  {
	  osDelay(1);
  }
}

void Start_Blue_LED_Blink(void *argument)
{
  /* USER CODE BEGIN Start_Blue_LED_Blink */
  /* Infinite loop */

	// Task every seconds blink blue LED and send data in virtual com port.
	// Set up RTC
	/*	README <<<<<<<<<<<<<<<<<<<<<<<<<<<<<<
	 * STM32IDE  automatically generated setup code and fill in RTC structure fields seconds, minutes,
	 * hours and date. So, for avoid rewriting time, you need comment automated generated code.
	 *
	 * RTC needs BATTERY for count time when external power will be removed.
	 * For STM32F407 discovery dev board needs remove R26, and connect battery to VBAT (near R26).
	 * Also, need solder the LF Crystal and two capacitors.
	 */

	// 1. Set time
	  RTC_TimeTypeDef sTime = {0};
//	  sTime.Hours = 9;
//	  sTime.Minutes = 33;
//	  sTime.Seconds = 00;
//	  HAL_RTC_SetTime(&hrtc, &sTime, RTC_FORMAT_BIN);
	  // Set date

	  RTC_DateTypeDef sDate = {0};
//	  sDate.Date = 29;
//	  sDate.Month = RTC_MONTH_DECEMBER;
//	  sDate.WeekDay = RTC_WEEKDAY_WEDNESDAY;
//	  sDate.Year = 21;
//	  HAL_RTC_SetDate(&hrtc, &sDate, RTC_FORMAT_BIN);
	  /////////////////////////////////////////////////////////////////////

	QUEUE_t msg;												// Make a queue

	char buff[50] = {0};
	char buf[5] = {0};
	char str_end_of_line[4] = {'\r','\n','\0'};

	static uint8_t i = 1;
	for(;;)
	{
		// Blue LED blink
		HAL_GPIO_WritePin(GPIOD, LD6_Pin, GPIO_PIN_SET);
		osDelay(100);
		HAL_GPIO_WritePin(GPIOD, LD6_Pin, GPIO_PIN_RESET);
		osDelay(900);

		// RTC part
		HAL_RTC_GetTime(&hrtc, &sTime, RTC_FORMAT_BIN);						// Get time (write in sDime struct)
		HAL_RTC_GetDate(&hrtc, &sDate, RTC_FORMAT_BIN);						// Get data (write in sDime struct)

		memset(msg.Buf, 0, sizeof(msg.Buf));								// Fill in buff '\0'
		memset(buff, 0, sizeof(buff));

		strcat(msg.Buf, "RTC DATA AND TIME >>>>>>>    " );

		// Date
		itoa(sDate.Year, buf, 10);
		strcat(msg.Buf, buf);

		itoa(sDate.Month, buf, 10);
		strcat(msg.Buf, "-");
		strcat(msg.Buf, buf);

		itoa(sDate.Date, buf, 10);
		strcat(msg.Buf, "-");
		strcat(msg.Buf, buf);

		strcat(msg.Buf, " | ");

		// Time
		itoa(sTime.Hours, buf, 10);
		strcat(msg.Buf, buf);

		itoa(sTime.Minutes, buf, 10);
		strcat(msg.Buf, ":");
		strcat(msg.Buf, buf);

		itoa(sTime.Seconds, buf, 10);
		strcat(msg.Buf, ":");
		strcat(msg.Buf, buf);

		strcat(msg.Buf, str_end_of_line);
		osMessageQueuePut(UARTQueueHandle, &msg, 0, osWaitForever);					// Write data on queue (In will print on StartUART_Task task)
	}
  /* USER CODE END Start_Blue_LED_Blink */
}

void Start_Show_Resources(void *argument)
{
  /* USER CODE BEGIN Start_Show_Resources */
  /* Infinite loop */
  for(;;)
  {
	  osDelay(5000);												// Every 5 second task management will print data

	  char str_end_of_line[3] = {'\r','\n'};
	  char str_sig = '-';
	  char buff[10] = {0};

	  QUEUE_t msg;												// Make a queue
	  memset(msg.Buf, 0, sizeof(msg.Buf));						// Fill in buff '\0'
	  strcat(msg.Buf, ">>>>> Free heap memory: ");				// Add string to another (Total heap)

	  freemem = xPortGetFreeHeapSize();							// Function return how many free memory.
	  itoa(freemem, buff, 10);
	  strcat(msg.Buf, buff);
	  strcat(msg.Buf, str_end_of_line);

	  // add a hat
	  strcat(msg.Buf, "| TASK NAME           | STATUS |   PRIOR	|  STACK  |    NUM  |\n\r\0");

	  vTaskList(str_management_memory_str);						// Fill in str_management_memory_str array management task information

	  // Finding the  end of string
	  uint16_t buffer_size = 0;
	  while(msg.Buf[buffer_size] != '\0')
	  {
	  	buffer_size ++;
	  }

	  // Add str_management_memory_str to queue string
	  int i = 0;
	  for(i = 0; str_management_memory_str[i] != '\0'; i++)
	  {
	  	// add data to queue
	  	msg.Buf[buffer_size + i] = str_management_memory_str[i];
	  }

	  // add a hat
	  char str_line[] = {"-----------------------\n\r"};
	  char str_head_2[] = {"| TASK NAME           | ABS TIME |              TASK TIME% |\n\r"};
	  strcat(msg.Buf, str_line);
	  strcat(msg.Buf, str_head_2);

	  memset(str_management_memory_str, 0, sizeof(str_management_memory_str));	// Clean buffer

	  vTaskGetRunTimeStats(str_management_memory_str);							// Function return how much time all functions running.

	  buffer_size = buffer_size + i + (sizeof(str_line)-1) + (sizeof(str_head_2)-1);           // НЕ ВИВОДИТЬ СТРОКУ !!!!!!!!!!!!!!!!!! <<<<<<<<<<<<<<<<<<<
	  for(i = 0; str_management_memory_str[i] != '\0'; i++)
	  {
	  	// add data to queue
	  	msg.Buf[buffer_size + i] = str_management_memory_str[i];
	  }
	  strcat(msg.Buf, "#########################################\n\r");

	  osMessageQueuePut(UARTQueueHandle, &msg, 0, osWaitForever);					// Write data on queue (In will print on StartUART_Task task)
  }
  /* USER CODE END Start_Show_Resources */
}

void Start_UART_Task(void *argument)
{
  /* USER CODE BEGIN Start_UART_Task */
  /* Infinite loop */
  QUEUE_t msg;
  for(;;)
  {
	// osMessageQueueGet waiting data on a queue (If data are in queue so print it)
	osMessageQueueGet(UARTQueueHandle, &msg, 0, osWaitForever);			// Write for data on queue
	// Counting how many characters will be transmitted
	uint16_t buffer_size = 0;
	while(msg.Buf[buffer_size] != '\0')
	{
		buffer_size ++;
	}
	// Transmit over virtual comport
	CDC_Transmit_FS(msg.Buf, buffer_size);						// Transmit data over virtual comport
    osDelay(1);
  }
  /* USER CODE END Start_UART_Task */
}

void Start_bme280(void *argument)
{
  /* USER CODE BEGIN Start_bme280 */
  /* Infinite loop */

	QUEUE_t msg;												// Make a queue
	//memset(msg.Buf, 0, sizeof(msg.Buf));						// Fill in buff '\0'

	uint16_t STATUS=0;
	uint16_t addres_device = 0x76;  		 	// BME280
	uint16_t id_addr = 0xD0;
	uint8_t id = 96;							// in hex form
	uint8_t buff=0;        						// Return 0x96 -> Dec 60

	// For debug
	STATUS = HAL_I2C_Mem_Read(&hi2c3, addres_device<<1, id_addr, 1, &buff, 1, 1000);
	if((buff == id) && (STATUS == 0))
	{
		// BME280 founded
	}
	else
	{
		// Error !!! BME280 didn't found
	}

	// Init BME280
	dev.dev_id = BME280_I2C_ADDR_PRIM;
	dev.intf = BME280_I2C_INTF;
	dev.read = user_i2c_read;
	dev.write = user_i2c_write;
	dev.delay_ms = user_delay_ms;

	rslt = bme280_init(&dev);

	dev.settings.osr_h = BME280_OVERSAMPLING_1X;
	dev.settings.osr_p = BME280_OVERSAMPLING_16X;
	dev.settings.osr_t = BME280_OVERSAMPLING_2X;
	dev.settings.filter = BME280_FILTER_COEFF_16;
	rslt = bme280_set_sensor_settings(BME280_OSR_PRESS_SEL | BME280_OSR_TEMP_SEL | BME280_OSR_HUM_SEL | BME280_FILTER_SEL, &dev);

	rslt = bme280_set_sensor_mode(BME280_NORMAL_MODE, &dev);

	dev.delay_ms(40);

  for(;;)
  {
	  osDelay(1000);

	  char str_t_h_and_p[50] = {0};
	  char str_thp_buffer[12] = {0};

	  memset(msg.Buf, 0, sizeof(msg.Buf));								// Fill in buff '\0'
	  rslt = bme280_get_sensor_data(BME280_ALL, &comp_data, &dev);		// Get data from sensor

	  if(rslt == BME280_OK)
	  {
	  		// Save data variables
	  		float BME280_temperature = comp_data.temperature;
	  		float BME280_humidity = comp_data.humidity;
	  		float BME280_preasure = comp_data.pressure;

	  		// Write T, H and P in str_t_h_and_p buffer
	  		// Write TEMPERATURE
	  		strcat(str_t_h_and_p, "BEE280: \n\r");
	  		strcat(str_t_h_and_p, "T: ");
	  		sprintf(str_thp_buffer, "%f", BME280_temperature);
	  		strcat(str_t_h_and_p, str_thp_buffer);
	  		strcat(str_t_h_and_p, " C\n\r");

	  		// Write HUMIDYTY
	  		memset(str_thp_buffer, 0, sizeof(str_thp_buffer));
	  		strcat(str_t_h_and_p, "H: ");
	  		sprintf(str_thp_buffer, "%f", BME280_humidity);
	  		strcat(str_t_h_and_p, str_thp_buffer);
	  		strcat(str_t_h_and_p, " C\n\r");

	  		// Write PRERASURE
	  		memset(str_thp_buffer, 0, sizeof(str_thp_buffer));
	  		strcat(str_t_h_and_p, "P: ");
	  		sprintf(str_thp_buffer, "%f", BME280_preasure);
	  		strcat(str_t_h_and_p, str_thp_buffer);
	  		strcat(str_t_h_and_p, " mm\n\r\0");

	  		strcat(msg.Buf, str_t_h_and_p);										//	Write main buffer with data in queue

	  		osMessageQueuePut(UARTQueueHandle, &msg, 0, osWaitForever);			// Write data on queue (In will print on StartUART_Task task)

	  }
	  else
	  {
		  strcat(str_t_h_and_p, "ERROR!!! BME280 didn't found\n\r");
		  osMessageQueuePut(UARTQueueHandle, &msg, 0, osWaitForever);			// Write data on queue (In will print on StartUART_Task task)
	  }

  }
  /* USER CODE END Start_bme280 */
}

void Start_AM2302(void *argument)
{
  /* USER CODE BEGIN Start_AM2302 */
  /* Infinite loop */
	QUEUE_t msg;												// Make a queue
	memset(msg.Buf, 0, sizeof(msg.Buf));						// Fill in buff '\0'

	GPIOC->MODER |= GPIO_MODER_MODER1_0;            // Output mode GPIOC0
	GPIOC->OTYPER &= ~GPIO_OTYPER_OT_1;             // Push-pull mode
	GPIOC->OSPEEDR |= GPIO_OSPEEDER_OSPEEDR0_1;     // Speed
	GPIOC->ODR ^= 0x02; 							// set GPIOC pin 1 on high
	osDelay(2000);									// First init must be 2 seconds delay

  for(;;)
  {
	  osDelay(3000);			// Measure every 3 seconds
	  //----------------------------------------------------------------------------------------
	  /*
	   * Function make us delay
	   */
//	  __STATIC_INLINE void DelayMicro(__IO uint32_t micros)
//	  {
//	  	uint32_t test_micros = SystemCoreClock;
//	  	micros *= (SystemCoreClock / 100000) /84;
//	  	while (micros--);
//	  }

	  	//  function must use less than one time per 2-3 seconds.
	  /* Init work with sensor:
	   *
	   * From microcontroller
	   * 						            From sensor
	   * 	   Low 10 msec	      High 39 us|	80us Pull down     80us Pull up 	Start Receive data from sensor
	   * ____                     _______	|					 __________________
	   * 	   \	   	           /	   \|					/				   \
	   * 	   	\_________________/			\__________________/		 			\_______
	   *
	   * Receive '0' Bit
	   *     Low 50 us    High 26 - 28 us
	   * __                ___________
	   * 	 \			    /			\
	   * 	  \____________/			 \_
	   *
	   * Receive '1' Bit
	   *     Low 50 us             High 70 us
	   * __                ________________________
	   * 	 \			    /				         \
	   * 	  \____________/			              \_
	   */

	  	bool get_data_status = false;
	  	int j = 0;   							// Counter bytes
	  	int i = 0;								// Counter bits
	  	uint8_t data[4] = {0};					// Buffer for incoming data from sensor
	  	float temper, hum;						// Buffer variables

	  	// Init GPIO like output
	  	GPIOC->MODER |= GPIO_MODER_MODER1_0;            // Output mode GPIOC0
	  	GPIOC->OTYPER &= ~GPIO_OTYPER_OT_1;             // Push-pull mode
	  	GPIOC->OSPEEDR |= GPIO_OSPEEDER_OSPEEDR0_1;     // Speed

	  	GPIOC->ODR &= ~0x02;		// Low level
	  	osDelay(18);
	  	GPIOC->ODR ^= 0x02;			// High level
	  	delay_us(40);

	  	// Make input pin C1
	  	GPIOC->MODER &= ~0x04;  	// Set Pin C1 Input   (MODER GPIOC_1 Must be 00)
	  	GPIOC->PUPDR &= ~0x04;		// Set Pin C1 Pull up

	  	if(GPIOC->IDR & GPIO_IDR_ID1)		// Sensor must pull down
	  	{
	  		get_data_status = false; 					// Error. Sensor not response
	  	}
	  	else
	  	{
	  		get_data_status = true;
	  	}

	  	delay_us(80);

	  	if(!(GPIOC->IDR & GPIO_IDR_ID1))  	// Sensor must pull up
	  	{
	  		get_data_status = false; 					// Error. Sensor not response
	  	}
	  	else
	  	{
	  		get_data_status = true;
	  	}
	  	delay_us(80);

	  	if(get_data_status == true)
	  	{
	  		for(j = 0; j <5; j++)							// Reading 5 bytes
	  		{
	  			data[4-j] = 0;
	  			for(i = 0; i < 8; i++)						// Reading 8 bits
	  			{
	  				while(!(GPIOC->IDR & GPIO_IDR_ID1));	// While signal is "0"
	  				delay_us(30);
	  				if(GPIOC->IDR & GPIO_IDR_ID1)			// If signal is high when wrute "1" in buffer (data[])
	  				{
	  					data[4-j] |= (1 << (7 - i));        // Shift received bite
	  				}
	  				while(GPIOC->IDR & GPIO_IDR_ID1);		// Wait end of "1" signal
	  			}
	  			get_data_status = true;										// Data was been written okay
	  		}

	  		temper = (float)((*(uint16_t*)(data+1)) & 0x3FFF) /10;
	  		if((*(uint16_t*)(data+1)) & 0x8000) temper  *= -1.0;
	  		hum = (float)(*(int16_t*)(data+3)) / 10;

	  		// Write data in queue
	  		char str_t_and_h[50] = {0};
	  		char str_t_and_h_buffer[12] = {0};

	  		memset(msg.Buf, 0, sizeof(msg.Buf));								// Fill in buff '\0'

	  		// Write T and  H P in str_t_h buffer
	  		// Write TEMPERATURE
	  		strcat(str_t_and_h, "AM2302: \n\r");
	  		strcat(str_t_and_h, "T: ");
	  		sprintf(str_t_and_h_buffer, "%f", temper);
	  		strcat(str_t_and_h, str_t_and_h_buffer);
	  		strcat(str_t_and_h, " C\n\r");

	  		// Write HUMIDYTY
	  		memset(str_t_and_h_buffer, 0, sizeof(str_t_and_h_buffer));

	  		strcat(str_t_and_h, "H: ");
	  		sprintf(str_t_and_h_buffer, "%f", hum);
	  		strcat(str_t_and_h, str_t_and_h_buffer);
	  		strcat(str_t_and_h, " C\n\r\0");

	  		strcat(msg.Buf, str_t_and_h);										//	Write main buffer with data in queue

	  		osMessageQueuePut(UARTQueueHandle, &msg, 0, osWaitForever);			// Write data on queue (In will print on StartUART_Task task)
	  	}
	  	else
	  	{

	  		//i2c_device.AM2302_ready_status = false;
	  	}
  }
  /* USER CODE END Start_AM2302 */
}

void Start_SD_CARD(void *argument)
{
  /* USER CODE BEGIN Start_SD_CARD */
  /* Infinite loop */

	Mount_SD("/");

	Create_File("test_data_1.txt");
	Update_File("test_data_1.txt","\n\rStart recording\r\n");	// Add data to the end of file

	// Create folders
	Create_Dir("test_folder_1");
	Create_Dir("test_folder_2");
	Create_Dir("test_folder_3");

	Unmount_SD("/");

	static int i = 0;											// Test data for write

  for(;;)
  {
	  // Log data ewery one second
	  osDelay(1000);
	  HAL_GPIO_WritePin(GPIOD, LD3_Pin, GPIO_PIN_SET);			// LED ON

	  Mount_SD("/");

	  char data[10] = {0};
	  sprintf(data, "%d\n", i);
	  Update_File("test_data_1.txt", data);						// Add data to the end of file
	  i++;

	  Unmount_SD("/");

	  HAL_GPIO_WritePin(GPIOD, LD3_Pin, GPIO_PIN_RESET);		// LED OFF

  }
  /* USER CODE END Start_SD_CARD */
}

void HAL_TIM_PeriodElapsedCallback(TIM_HandleTypeDef *htim)
{
  /* USER CODE BEGIN Callback 0 */

	// Handler for generate us dalay 			( FOR AM2302 )
	if(htim->Instance == TIM10) 				//check if the interrupt comes from TIM10
	{
		if(tim_val > 0)
		{
			tim_val = tim_val - 1;
		}
		else									// For avoid overflow variable
		{
			tim_val = 0;
		}
	}

	// Handler for SD
	if(htim->Instance == TIM1) 					//check if the interrupt comes from TIM1 (Blink LED)
	{
		HAL_GPIO_TogglePin(GPIOD, LD4_Pin);		// Green LED
	}

	// Handler for count how many time works any tasks
	if(htim->Instance == TIM3)
	{
		ulHighFreqebcyTimerTicks++;					// Update time tasks counter
	}

  /* USER CODE END Callback 0 */
  if (htim->Instance == TIM14) {
    HAL_IncTick();
  }
  /* USER CODE BEGIN Callback 1 */

	if (htim->Instance == TIM14)		// For SD works (use in fatfs_sd.c file)
	{
		if(Timer1 > 0)
		    Timer1--;

		  if(Timer2 > 0)
		    Timer2--;
	}
  /* USER CODE END Callback 1 */
}

void Error_Handler(void)
{
  __disable_irq();
  while (1)
  {
  }
}

/************************ (C) COPYRIGHT STMicroelectronics *****END OF FILE****/
